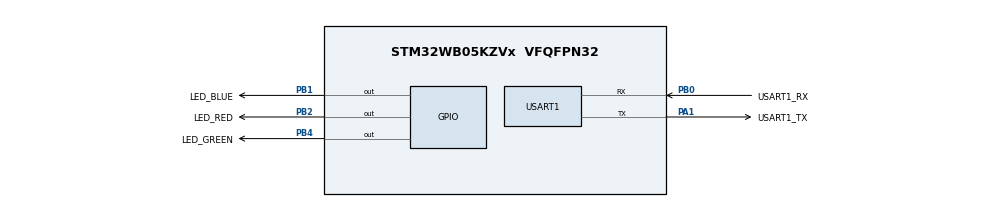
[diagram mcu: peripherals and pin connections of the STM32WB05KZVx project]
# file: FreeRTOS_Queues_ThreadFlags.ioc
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FREERTOS.Queues01=osQueue,16,uint16_t,0,Dynamic,NULL,NULL
FREERTOS.Tasks01=ProducerThread,24,128,Producer_Thread,Default,NULL,Dynamic,NULL,NULL;ConsumerThread,24,128,Consumer_Thread,Default,NULL,Dynamic,NULL,NULL;GenThread,16,128,Gen_Thread,Default,NULL,Dynamic,NULL,NULL;ReceiveThread,16,128,Receive_Thread,Default,NULL,Dynamic,NULL,NULL
FREERTOS.configENABLE_FPU=1
FREERTOS.configLIBRARY_MAX_SYSCALL_INTERRUPT_PRIORITY=3
FREERTOS.configTOTAL_HEAP_SIZE=4096
Mcu.Family=STM32WB0
Mcu.Name=STM32WB05KZVx
Mcu.Package=VFQFPN32
NVIC.TIM2_IRQn=true\:3\:0\:false\:false\:true\:false\:false\:true\:true
NVIC.TimeBase=TIM2_IRQn
NVIC.TimeBaseIP=TIM2
OSCIN.Mode=HSE-External-Oscillator
OSCIN.Signal=RCC_OSC_IN
OSCOUT.Mode=HSE-External-Oscillator
OSCOUT.Signal=RCC_OSC_OUT
PA1.GPIO_Label=USART1_TX
PA1.GPIO_PuPd=GPIO_PULLUP
PA1.Mode=Asynchronous
PA1.Signal=USART1_TX
PB0.GPIO_Label=USART1_RX
PB0.GPIO_PuPd=GPIO_PULLUP
PB0.Mode=Asynchronous
PB0.Signal=USART1_RX
PB1.GPIO_Label=LED_BLUE
PB1.GPIO_PuPd=GPIO_PULLUP
PB1.GPIO_Speed=GPIO_SPEED_FREQ_VERY_HIGH
PB1.PinState=GPIO_PIN_SET
PB1.Signal=GPIO_Output
PB12.Mode=LSE-External-Oscillator
PB12.Signal=RCC_OSC32_OUT
PB13.Mode=LSE-External-Oscillator
PB13.Signal=RCC_OSC32_IN
PB2.GPIO_Label=LED_RED
PB2.GPIO_PuPd=GPIO_PULLUP
PB2.GPIO_Speed=GPIO_SPEED_FREQ_VERY_HIGH
PB2.PinState=GPIO_PIN_SET
PB2.Signal=GPIO_Output
PB4.GPIO_Label=LED_GREEN
PB4.GPIO_PuPd=GPIO_PULLUP
PB4.GPIO_Speed=GPIO_SPEED_FREQ_VERY_HIGH
PB4.PinState=GPIO_PIN_SET
PB4.Signal=GPIO_Output
ProjectManager.HeapSize=0x000
ProjectManager.StackSize=0xC00
ProjectManager.TargetToolchain=EWARM V9.30
RCC.HSE_VALUE=32000000
RCC.HSI_VALUE=64000000
RCC.LSE_Timout=100
RCC.RC64MPLLSource=RCC_LSCOSOURCE_PLL64
USART1.VirtualMode-Asynchronous=VM_ASYNC
VP_FREERTOS_VS_CMSIS_V2.Mode=CMSIS_V2
VP_MEMORYMAP_VS_MEMORYMAP.Mode=CurAppReg
VP_PWR_VS_SECSignals.Mode=Security/Privilege
VP_SYS_VS_tim2.Mode=TIM2
board=NUCLEO-WB05KZ

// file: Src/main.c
/* USER CODE BEGIN Header */
/**
  ******************************************************************************
  * @file           : main.c
  * @brief          : Main program body
  ******************************************************************************
  * @attention
  *
  * Copyright (c) 2024 STMicroelectronics.
  * All rights reserved.
  *
  * This software is licensed under terms that can be found in the LICENSE file
  * in the root directory of this software component.
  * If no LICENSE file comes with this software, it is provided AS-IS.
  *
  ******************************************************************************
  */
/* USER CODE END Header */
#include "main.h"
#include "FreeRTOS.h"
#include "cmsis_os2.h"

/* USER CODE BEGIN Includes */
#if defined(__ICCARM__)
#include <LowLevelIOInterface.h>
#endif /* __ICCARM__ */
/* USER CODE END Includes */

/* USER CODE BEGIN PD */
#define CONSUMER_VALUE     10
#define GEN_VALUE          20
#define PRODUCER_MAX_VALUE 25
/* USER CODE END PD */

UART_HandleTypeDef huart1;

/* Definitions for ProducerThread */
osThreadId_t ProducerThreadHandle;
const osThreadAttr_t ProducerThread_attributes = {
  .name = "ProducerThread",
  .stack_size = 128 * 4,
  .priority = (osPriority_t) osPriorityNormal,
};
/* Definitions for ConsumerThread */
osThreadId_t ConsumerThreadHandle;
const osThreadAttr_t ConsumerThread_attributes = {
  .name = "ConsumerThread",
  .stack_size = 128 * 4,
  .priority = (osPriority_t) osPriorityNormal,
};
/* Definitions for GenThread */
osThreadId_t GenThreadHandle;
const osThreadAttr_t GenThread_attributes = {
  .name = "GenThread",
  .stack_size = 128 * 4,
  .priority = (osPriority_t) osPriorityBelowNormal,
};
/* Definitions for ReceiveThread */
osThreadId_t ReceiveThreadHandle;
const osThreadAttr_t ReceiveThread_attributes = {
  .name = "ReceiveThread",
  .stack_size = 128 * 4,
  .priority = (osPriority_t) osPriorityBelowNormal,
};
/* Definitions for osQueue */
osMessageQueueId_t osQueueHandle;
const osMessageQueueAttr_t osQueue_attributes = {
  .name = "osQueue"
};
/* USER CODE BEGIN PV */
uint32_t ProducerValue = 10;
/* USER CODE END PV */

void SystemClock_Config(void);
void PeriphCommonClock_Config(void);
static void MX_GPIO_Init(void);
static void MX_USART1_UART_Init(void);
void Producer_Thread(void *argument);
void Consumer_Thread(void *argument);
void Gen_Thread(void *argument);
void Receive_Thread(void *argument);

/* USER CODE BEGIN PFP */
#if defined(__ICCARM__)
/* New definition from EWARM V9, compatible with EWARM8 */
int iar_fputc(int ch);
#define PUTCHAR_PROTOTYPE int iar_fputc(int ch)
#elif defined ( __CC_ARM ) || defined(__ARMCC_VERSION)
/* ARM Compiler 5/6*/
#define PUTCHAR_PROTOTYPE int fputc(int ch, FILE *f)
#elif defined(__GNUC__)
#define PUTCHAR_PROTOTYPE int __io_putchar(int ch)
#endif /* __ICCARM__ */
/* USER CODE END PFP */

int main(void)
{

  /* MCU Configuration--------------------------------------------------------*/

  /* Reset of all peripherals, Initializes the Flash interface and the Systick. */
  HAL_Init();

  /* Configure the system clock */
  SystemClock_Config();

  /* Configure the peripherals common clocks */
  PeriphCommonClock_Config();

  /* Initialize all configured peripherals */
  MX_GPIO_Init();
  MX_USART1_UART_Init();

  /* Init scheduler */
  osKernelInitialize();

  /* Create the queue(s) */
  /* creation of osQueue */
  osQueueHandle = osMessageQueueNew (16, sizeof(uint16_t), &osQueue_attributes);

  /* Create the thread(s) */
  /* creation of ProducerThread */
  ProducerThreadHandle = osThreadNew(Producer_Thread, NULL, &ProducerThread_attributes);

  /* creation of ConsumerThread */
  ConsumerThreadHandle = osThreadNew(Consumer_Thread, NULL, &ConsumerThread_attributes);

  /* creation of GenThread */
  GenThreadHandle = osThreadNew(Gen_Thread, NULL, &GenThread_attributes);

  /* creation of ReceiveThread */
  ReceiveThreadHandle = osThreadNew(Receive_Thread, NULL, &ReceiveThread_attributes);

  /* Start scheduler */
  osKernelStart();

  /* We should never get here as control is now taken by the scheduler */

  /* Infinite loop */
  while (1)
  {

  }
}

void SystemClock_Config(void)
{
  RCC_OscInitTypeDef RCC_OscInitStruct = {0};
  RCC_ClkInitTypeDef RCC_ClkInitStruct = {0};

  /** Initializes the RCC Oscillators according to the specified parameters
  * in the RCC_OscInitTypeDef structure.
  */
  RCC_OscInitStruct.OscillatorType = RCC_OSCILLATORTYPE_HSE;
  RCC_OscInitStruct.HSEState = RCC_HSE_ON;
  if (HAL_RCC_OscConfig(&RCC_OscInitStruct) != HAL_OK)
  {
    Error_Handler();
  }

  /** Configure the SYSCLKSource and SYSCLKDivider
  */
  RCC_ClkInitStruct.SYSCLKSource = RCC_SYSCLKSOURCE_RC64MPLL;
  RCC_ClkInitStruct.SYSCLKDivider = RCC_RC64MPLL_DIV1;

  if (HAL_RCC_ClockConfig(&RCC_ClkInitStruct, FLASH_WAIT_STATES_1) != HAL_OK)
  {
    Error_Handler();
  }
}

void PeriphCommonClock_Config(void)
{
  RCC_PeriphCLKInitTypeDef PeriphClkInitStruct = {0};

  /** Initializes the peripherals clock
  */
  PeriphClkInitStruct.PeriphClockSelection = RCC_PERIPHCLK_SMPS;
  PeriphClkInitStruct.SmpsDivSelection = RCC_SMPSCLK_DIV4;

  if (HAL_RCCEx_PeriphCLKConfig(&PeriphClkInitStruct) != HAL_OK)
  {
    Error_Handler();
  }
}

static void MX_USART1_UART_Init(void)
{

  huart1.Instance = USART1;
  huart1.Init.BaudRate = 115200;
  huart1.Init.WordLength = UART_WORDLENGTH_8B;
  huart1.Init.StopBits = UART_STOPBITS_1;
  huart1.Init.Parity = UART_PARITY_NONE;
  huart1.Init.Mode = UART_MODE_TX_RX;
  huart1.Init.HwFlowCtl = UART_HWCONTROL_NONE;
  huart1.Init.OverSampling = UART_OVERSAMPLING_16;
  huart1.Init.OneBitSampling = UART_ONE_BIT_SAMPLE_DISABLE;
  huart1.Init.ClockPrescaler = UART_PRESCALER_DIV1;
  huart1.AdvancedInit.AdvFeatureInit = UART_ADVFEATURE_NO_INIT;
  if (HAL_UART_Init(&huart1) != HAL_OK)
  {
    Error_Handler();
  }
  if (HAL_UARTEx_SetTxFifoThreshold(&huart1, UART_TXFIFO_THRESHOLD_1_8) != HAL_OK)
  {
    Error_Handler();
  }
  if (HAL_UARTEx_SetRxFifoThreshold(&huart1, UART_RXFIFO_THRESHOLD_1_8) != HAL_OK)
  {
    Error_Handler();
  }
  if (HAL_UARTEx_DisableFifoMode(&huart1) != HAL_OK)
  {
    Error_Handler();
  }

}

static void MX_GPIO_Init(void)
{
  GPIO_InitTypeDef GPIO_InitStruct = {0};

  /* GPIO Ports Clock Enable */
  __HAL_RCC_GPIOB_CLK_ENABLE();
  __HAL_RCC_GPIOA_CLK_ENABLE();

  /*Configure GPIO pin Output Level */
  HAL_GPIO_WritePin(GPIOB, LED_RED_Pin|LED_BLUE_Pin|LED_GREEN_Pin, GPIO_PIN_SET);

  /*Configure GPIO pins : LED_RED_Pin LED_BLUE_Pin LED_GREEN_Pin */
  GPIO_InitStruct.Pin = LED_RED_Pin|LED_BLUE_Pin|LED_GREEN_Pin;
  GPIO_InitStruct.Mode = GPIO_MODE_OUTPUT_PP;
  GPIO_InitStruct.Pull = GPIO_PULLUP;
  GPIO_InitStruct.Speed = GPIO_SPEED_FREQ_VERY_HIGH;
  HAL_GPIO_Init(GPIOB, &GPIO_InitStruct);

  /**/
  HAL_PWREx_EnableGPIOPullUp(PWR_GPIO_B, PWR_GPIO_BIT_2|PWR_GPIO_BIT_1|PWR_GPIO_BIT_4);

}

/* USER CODE BEGIN 4 */
#if defined(__ICCARM__)
size_t __write(int file, unsigned char const *ptr, size_t len)
{
  size_t idx;
  unsigned char const *pdata = ptr;

  for (idx = 0; idx < len; idx++)
  {
    iar_fputc((int)*pdata);
    pdata++;
  }
  return len;
}
#endif /* __ICCARM__ */

/**
  * @brief  Retargets the C library printf function to the USART.
  * @param  None
  * @retval None
  */
PUTCHAR_PROTOTYPE
{
  /* Place your implementation of fputc here */
  /* e.g. write a character to the USART1 and Loop until the end of transmission */
  HAL_UART_Transmit(&huart1, (uint8_t *)&ch, 1, 0xFFFF);

  return ch;
}
/* USER CODE END 4 */

void Producer_Thread(void *argument)
{
  /* USER CODE BEGIN 5 */
  /* Infinite loop */
  for(;;)
  {
    if (ProducerValue < PRODUCER_MAX_VALUE)
    {
      /* Set the message to the queue */
      printf("ProducerThread: sending ProducerValue msg to the queue\r\n");
      if (osMessageQueuePut(osQueueHandle, &ProducerValue, 100, osWaitForever) != osOK)
      {
        Error_Handler();
      }

      ProducerValue = ProducerValue + 10;
      osDelay(2000);
    }
    else
    {
      /* Terminate ProducerThread execution */
      osThreadTerminate(ProducerThreadHandle);
    }
  }
  /* USER CODE END 5 */
}

void Consumer_Thread(void *argument)
{
  /* USER CODE BEGIN Consumer_Thread */
  uint32_t osQueueMsg = 0;

  for(;;)
  {
    /* Get the message from the queue */

    if (osMessageQueueGet(osQueueHandle, &osQueueMsg, NULL, osWaitForever) != osOK)
    {
      Error_Handler();
    }
    else
    {
      /* Check if it is the correct message */
      printf("ConsumerThread: getting the msg from queue & checking if it's the correct msg\r\n");
      if(osQueueMsg == CONSUMER_VALUE)
      {
        /* Toggle LD1 (LED_GREEN) */
        printf("ConsumerThread: correct msg verified -> Toggles LED_GREEN\r\n");
        HAL_GPIO_TogglePin(LED_GREEN_GPIO_Port, LED_GREEN_Pin);
      }
    }

    /* Terminate ConsumerThread execution */
    osThreadTerminate(ConsumerThreadHandle);
  }
  /* USER CODE END Consumer_Thread */
}

void Gen_Thread(void *argument)
{
  /* USER CODE BEGIN Gen_Thread */
  uint32_t osQueueMsg = 0;

  for(;;)
  {
    /* Get the message from the queue */
    if (osMessageQueueGet(osQueueHandle, &osQueueMsg, NULL, osWaitForever) != osOK)
    {
      Error_Handler();
    }
    else
    {
      /* Check if it's the correct message */
      printf("GenThread: getting the msg from queue & checking if the GEN_VALUE is reached\r\n");
      if(osQueueMsg == GEN_VALUE)
      {
        /* Set ReceiveThread' flag to 1 */
        printf("GenThread: GenerationValue reached -> Set ReceiveThread' flag to 1\r\n");
        osThreadFlagsSet(ReceiveThreadHandle, 0x0001U);
      }
    }

    /* Terminate GenThread execution */
    osThreadTerminate(GenThreadHandle);
   }
  /* USER CODE END Gen_Thread */
}

void Receive_Thread(void *argument)
{
  /* USER CODE BEGIN Receive_Thread */
  for (;;)
  {
    /* Wait forever until thread flag 1 is set */
    printf("ReceiveThread: Wait until thread flag 1 is set\r\n");
    osThreadFlagsWait(0x0001U, osFlagsWaitAny, osWaitForever);

    /* Toggle LD2 (LED_BLUE) */
    printf("ReceiveThread: Flag set to 1 -> Toggles LED_BLUE\r\n");
    HAL_GPIO_TogglePin(LED_BLUE_GPIO_Port, LED_BLUE_Pin);

    /* Terminate ReceiveThread execution */
    osThreadTerminate(ReceiveThreadHandle);
  }
  /* USER CODE END Receive_Thread */
}

void HAL_TIM_PeriodElapsedCallback(TIM_HandleTypeDef *htim)
{
  if (htim->Instance == TIM2)
  {
    HAL_IncTick();
  }
}

void Error_Handler(void)
{
  /* USER CODE BEGIN Error_Handler_Debug */
  /* User can add his own implementation to report the HAL error return state */
  printf("Critical Error occurred \r\n");
  while (1)
  {
    HAL_GPIO_TogglePin(LED_RED_GPIO_Port, LED_RED_Pin);
    HAL_Delay(500);
  }
  /* USER CODE END Error_Handler_Debug */
}
